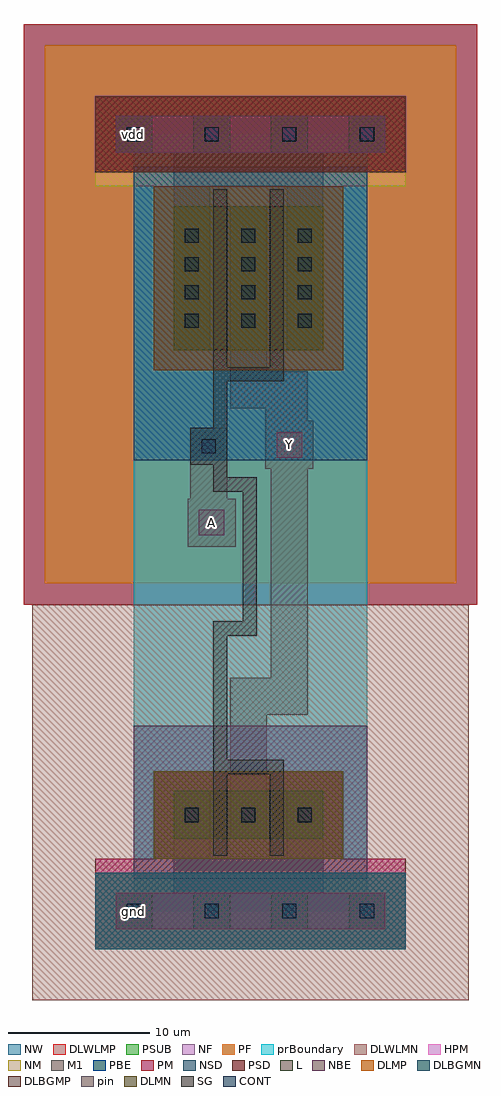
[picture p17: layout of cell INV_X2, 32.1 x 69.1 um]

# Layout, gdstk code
import gdstk
lib = gdstk.Library(unit=1e-6, precision=1e-09)
def R(c, l, rs):  # rectangles x0, y0, x1, y1
    for r in rs: c.add(gdstk.rectangle(r[:2], r[2:], *l))
def A(c, l, x, y, w, h, nx, ny, dx, dy):  # array of equal rectangles
    R(c, l, [(x+i*dx, y+j*dy, x+i*dx+w, y+j*dy+h) for i in range(nx) for j in range(ny)])
def P(c, l, *ps):  # polygons
    for p in ps: c.add(gdstk.Polygon(p, *l))
L = (3, 0)
NM = (7, 0)
SG = (8, 0)
PSD = (9, 0)
CONT = (11, 0)
M1 = (13, 0)
NF = (25, 0)
PF = (26, 0)
NSD = (28, 0)
HPM = (33, 0)
PM = (35, 0)
NW = (36, 0)
pin = (48, 1)
PSUB = (140, 0)
PBE = (146, 0)
NBE = (147, 0)
DLWLMP = (150, 0)
DLWLMN = (151, 0)
DLMP = (157, 0)
DLMN = (158, 0)
DLBGMP = (177, 0)
DLBGMN = (178, 0)
prBoundary = (235, 0)

inv_x2 = lib.new_cell('INV_X2')
A(inv_x2, L, -1.3, -1.3, 2.6, 2.6, 4, 2, 5.5, 55)
R(inv_x2, L, [(2.8,5.1,13.4,8.5), (2.8,39.7,13.4,49.9)])
R(inv_x2, NM, [(-2.75,-2.7,19.25,2.7)])
P(inv_x2, NM, [(1.4,38.3),(1.4,51.3),(-2.75,51.3),(-2.75,57.7),(19.25,57.7),(19.25,51.3),(14.8,51.3),(14.8,38.3)])
P(inv_x2, SG, [(5.6,3.9),(5.6,20.5),(7.7,20.5),(7.7,29.7),(5.6,29.7),(5.6,31.6),(4,31.6),(4,34.2),(5.6,34.2),(5.6,51.1),(6.6,51.1),(6.6,38.5),(9.6,38.5),(9.6,51.1),(10.6,51.1),(10.6,37.5),(6.6,37.5),(6.6,30.7),(8.7,30.7),(8.7,19.5),(6.6,19.5),(6.6,10.7),(10.6,10.7),(10.6,3.9),(9.6,3.9),(9.6,9.7),(6.6,9.7),(6.6,3.9)])
R(inv_x2, PSD, [(1.4,3.7,14.8,9.9), (-2.75,52.3,19.25,57.7)])
A(inv_x2, CONT, -0.5, -0.5, 1, 1, 4, 2, 5.5, 55)
A(inv_x2, CONT, 3.6, 6.3, 1, 1, 3, 2, 4, 35)
A(inv_x2, CONT, 3.6, 43.3, 1, 1, 3, 3, 4, 2)
R(inv_x2, CONT, [(4.8,32.4,5.8,33.4)])
P(inv_x2, M1, [(-1.3,-1.3),(-1.3,1.3),(2.8,1.3),(2.8,8.5),(5.4,8.5),(5.4,3.7),(10.8,3.7),(10.8,8.5),(13.4,8.5),(13.4,1.3),(17.8,1.3),(17.8,-1.3)],
  [(3.8,25.8),(3.8,29.2),(4,29.2),(4,34.2),(6.6,34.2),(6.6,29.2),(7.2,29.2),(7.2,25.8)],
  [(6.8,5.1),(6.8,16.5),(9.7,16.5),(9.7,31.3),(9.3,31.3),(9.3,35.6),(6.8,35.6),(6.8,49.9),(9.4,49.9),(9.4,38.2),(12.3,38.2),(12.3,34.7),(12.7,34.7),(12.7,31.3),(12.3,31.3),(12.3,13.9),(9.4,13.9),(9.4,5.1)],
  [(2.8,39.7),(2.8,53.7),(-1.3,53.7),(-1.3,56.3),(17.8,56.3),(17.8,53.7),(13.4,53.7),(13.4,39.7),(10.8,39.7),(10.8,51.3),(5.4,51.3),(5.4,39.7)])
R(inv_x2, NF, [(-6.3,23.2,22.8,61.3)])
R(inv_x2, PF, [(-6.3,23.2,22.8,61.3)])
R(inv_x2, NSD, [(-2.75,-2.7,19.25,2.7), (1.4,38.3,14.8,51.3)])
P(inv_x2, HPM, [(-2.75,-2.7),(-2.75,3.7),(1.4,3.7),(1.4,9.9),(14.8,9.9),(14.8,3.7),(19.25,3.7),(19.25,-2.7)],
  [(1.4,38.3),(1.4,51.3),(-2.75,51.3),(-2.75,57.7),(19.25,57.7),(19.25,51.3),(14.8,51.3),(14.8,38.3)])
R(inv_x2, PM, [(-2.75,52.3,19.25,57.7)])
P(inv_x2, PM, [(-2.75,-2.7),(-2.75,3.7),(1.4,3.7),(1.4,9.9),(14.8,9.9),(14.8,3.7),(19.25,3.7),(19.25,-2.7)])
R(inv_x2, NW, [(-7.8,21.7,24.3,62.8)])
R(inv_x2, pin, [(-1.3,-1.3,17.8,1.3), (4.6,26.6,6.4,28.4), (10.1,32.1,11.9,33.9), (-1.3,53.7,17.8,56.3)])
R(inv_x2, PSUB, [(-6.3,23.2,22.8,61.3)])
R(inv_x2, PBE, [(0,31.9,16.5,52.7)])
R(inv_x2, NBE, [(0,2.3,16.5,13.1)])
R(inv_x2, DLWLMP, [(-7.8,21.7,24.3,62.8)])
R(inv_x2, DLWLMN, [(-7.2,-6.3,23.7,21.7)])
R(inv_x2, DLMP, [(1.4,38.3,14.8,51.3)])
R(inv_x2, DLMN, [(1.4,3.7,14.8,9.9)])
R(inv_x2, DLBGMP, [(-2.75,52.3,19.25,57.7)])
R(inv_x2, DLBGMN, [(-2.75,-2.7,19.25,2.7)])
R(inv_x2, prBoundary, [(0,0,16.5,55)])
inv_x2.add(gdstk.Label('A', (5.5,27.5), layer=48, texttype=0))
inv_x2.add(gdstk.Label('Y', (11,33), layer=48, texttype=0))
inv_x2.add(gdstk.Label('vdd', (0,55), layer=48, texttype=0))
inv_x2.add(gdstk.Label('gnd', (0,0), layer=48, texttype=0))

lib.write_gds('INV_X2.gds')
